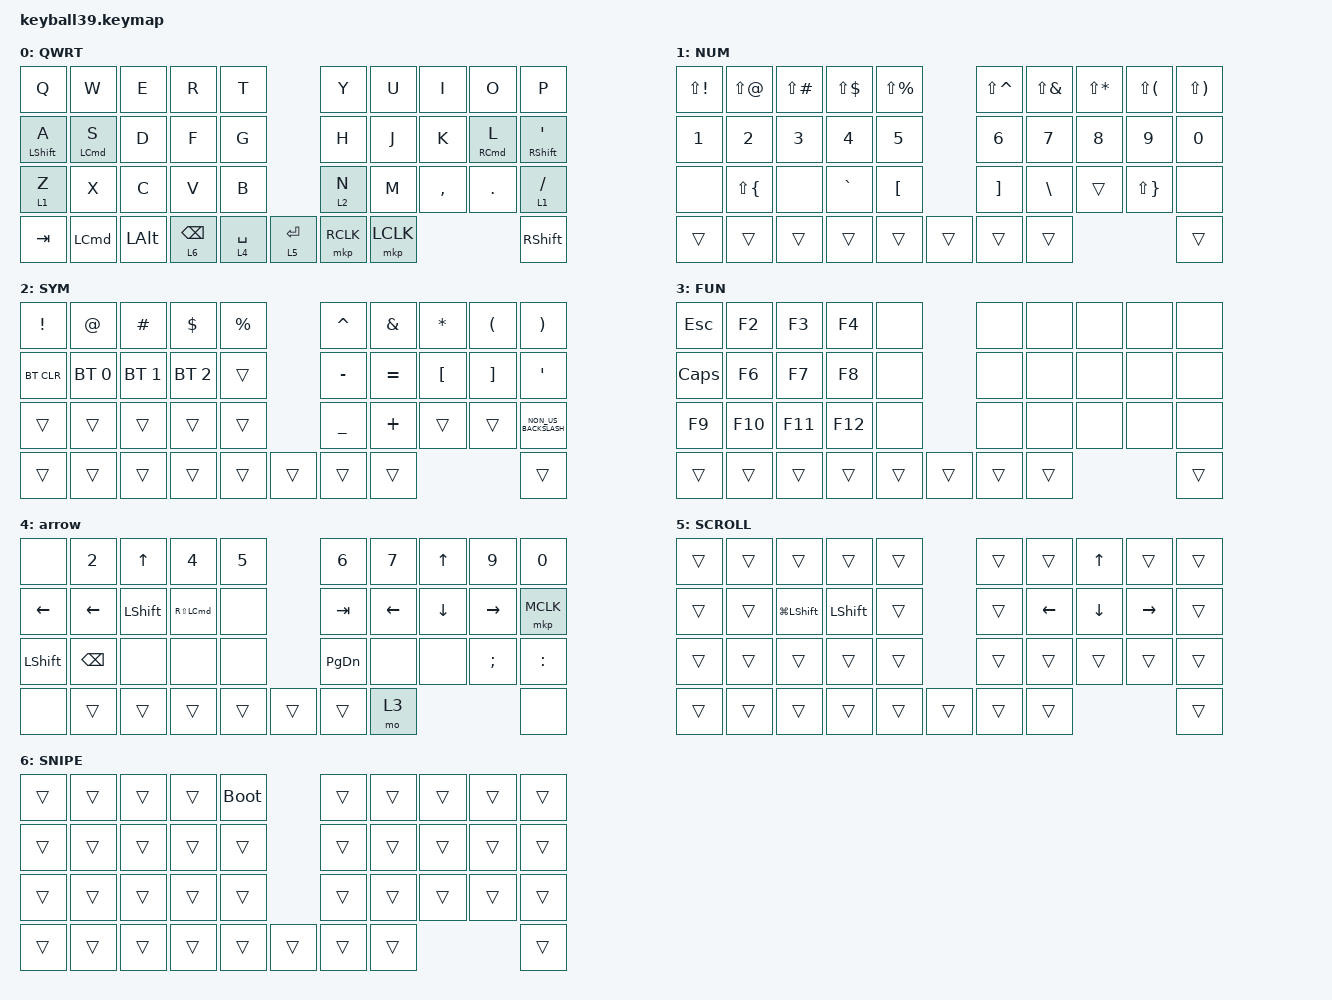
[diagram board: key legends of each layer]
#define DEFAULT 0
#define NUM     1
#define SYM     2
#define FUN     3
#define MOUSE   4
#define SCROLL  5
#define SNIPE   6

#include <behaviors/mouse_keys.dtsi>
#include <dt-bindings/zmk/mouse.h>
#include <behaviors.dtsi>
#include <dt-bindings/zmk/bt.h>
#include <dt-bindings/zmk/keys.h>
#include <dt-bindings/zmk/pointing.h>

&lt {
    tapping-term-ms = <240>;
    flavor = "balanced";
    quick-tap-ms = <150>;
};

&mt {
    tapping-term-ms = <200>;
    flavor = "tap-preferred";
    quick-tap-ms = <150>;
};

&caps_word { continue-list = <UNDERSCORE MINUS>; };

/ {
    // custom shift using mod-morph 

    behaviors {
        cmqus: comma_question {
            compatible = "zmk,behavior-mod-morph";
            label = "COMMA_QUESTION";
            #binding-cells = <0>;
            bindings = <&kp COMMA>, <&kp QUESTION>;

            mods = <(MOD_LSFT|MOD_RSFT)>;
        };

        dtsmi: dot_semi {
            compatible = "zmk,behavior-mod-morph";
            label = "DOT_SEMI";
            #binding-cells = <0>;
            bindings = <&kp DOT>, <&kp SEMI>;

            mods = <(MOD_LSFT|MOD_RSFT)>;
        };
    };

    macros {
        Hiragana: Hiragana {
            compatible = "zmk,behavior-macro";
            #binding-cells = <0>;
            bindings = <&kp LC(SPACE)>;
            label = "HIRAGANA";
        };
    };

    keymap {
        compatible = "zmk,keymap";

        default_layer {
            label = "QWRT";
            bindings = <
&kp Q             &kp W               &kp E     &kp R            &kp T                              &kp Y      &kp U  &kp I      &kp O                &kp P
&mt LEFT_SHIFT A  &mt LEFT_COMMAND S  &kp D     &kp F            &kp G                              &kp H      &kp J  &kp K      &mt RIGHT_COMMAND L  &mt RIGHT_SHIFT SQT
&lt 1 Z           &kp X               &kp C     &kp V            &kp B                              &lt 2 N    &kp M  &kp COMMA  &kp DOT              &lt 1 SLASH
&kp TAB           &kp LEFT_COMMAND    &kp LALT  &lt 6 BACKSPACE  &lt 4 SPACE  &lt 5 RET  &mkp RCLK  &mkp LCLK                                         &kp RSHFT
            >;
        };

        number_layer {
            label = "NUM";
            bindings = <
&kp LS(EXCL)  &kp LS(AT)    &kp LS(POUND)  &kp LS(DLLR)  &kp LS(PRCNT)                  &kp LS(CARET)  &kp LS(AMPS)  &kp LS(STAR)  &kp LS(LPAR)  &kp LS(RPAR)
&kp N1        &kp N2        &kp N3         &kp N4        &kp N5                         &kp N6         &kp N7        &kp N8        &kp N9        &kp N0
&none         &kp LS(LBRC)  &none          &kp GRAVE     &kp LBKT                       &kp RBKT       &kp BSLH      &trans        &kp LS(RBRC)  &none
&trans        &trans        &trans         &trans        &trans         &trans  &trans  &trans                                                   &trans
            >;
        };

        BT_layer {
            label = "SYM";
            bindings = <
&kp EXCLAMATION  &kp AT_SIGN   &kp HASH      &kp DOLLAR    &kp PERCENT                  &kp CARET       &kp AMPERSAND  &kp ASTERISK      &kp LEFT_PARENTHESIS  &kp RIGHT_PARENTHESIS
&bt BT_CLR       &bt BT_SEL 0  &bt BT_SEL 1  &bt BT_SEL 2  &trans                       &kp MINUS       &kp EQUAL      &kp LEFT_BRACKET  &kp RIGHT_BRACKET     &kp SQT
&trans           &trans        &trans        &trans        &trans                       &kp UNDERSCORE  &kp PLUS       &trans            &trans                &kp NON_US_BACKSLASH
&trans           &trans        &trans        &trans        &trans       &trans  &trans  &trans                                                                 &trans
            >;
        };

        function_layer {
            label = "FUN";
            bindings = <
&kp ESC   &kp F2   &kp F3   &kp F4   &none                   &none   &none  &none  &none  &none
&kp CAPS  &kp F6   &kp F7   &kp F8   &none                   &none   &none  &none  &none  &none
&kp F9    &kp F10  &kp F11  &kp F12  &none                   &none   &none  &none  &none  &none
&trans    &trans   &trans   &trans   &trans  &trans  &trans  &trans                       &trans
            >;
        };

        arrows {
            label = "arrow";
            bindings = <
&none           &kp N2    &kp UP          &kp N4                &kp N5                  &kp N6         &kp N7    &kp UP    &kp N9         &kp N0
&kp LEFT_ARROW  &kp LEFT  &kp LEFT_SHIFT  &kp RS(LEFT_COMMAND)  &none                   &kp TAB        &kp LEFT  &kp DOWN  &kp RIGHT      &mkp MCLK
&kp LSHFT       &kp BSPC  &none           &none                 &none                   &kp PAGE_DOWN  &none     &none     &kp SEMICOLON  &kp COLON
&none           &trans    &trans          &trans                &trans  &trans  &trans  &mo 3                                             &none
            >;
        };

        scroll_layer {
            label = "SCROLL";
            bindings = <
&trans  &trans  &trans              &trans          &trans                  &trans  &trans    &kp UP    &trans     &trans
&trans  &trans  &kp LG(LEFT_SHIFT)  &kp LEFT_SHIFT  &trans                  &trans  &kp LEFT  &kp DOWN  &kp RIGHT  &trans
&trans  &trans  &trans              &trans          &trans                  &trans  &trans    &trans    &trans     &trans
&trans  &trans  &trans              &trans          &trans  &trans  &trans  &trans                                 &trans
            >;
        };

        snipe_layer {
            label = "SNIPE";
            bindings = <
&trans  &trans  &trans  &trans  &bootloader                  &trans  &trans  &trans  &trans  &trans
&trans  &trans  &trans  &trans  &trans                       &trans  &trans  &trans  &trans  &trans
&trans  &trans  &trans  &trans  &trans                       &trans  &trans  &trans  &trans  &trans
&trans  &trans  &trans  &trans  &trans       &trans  &trans  &trans                          &trans
            >;
        };
    };
};
